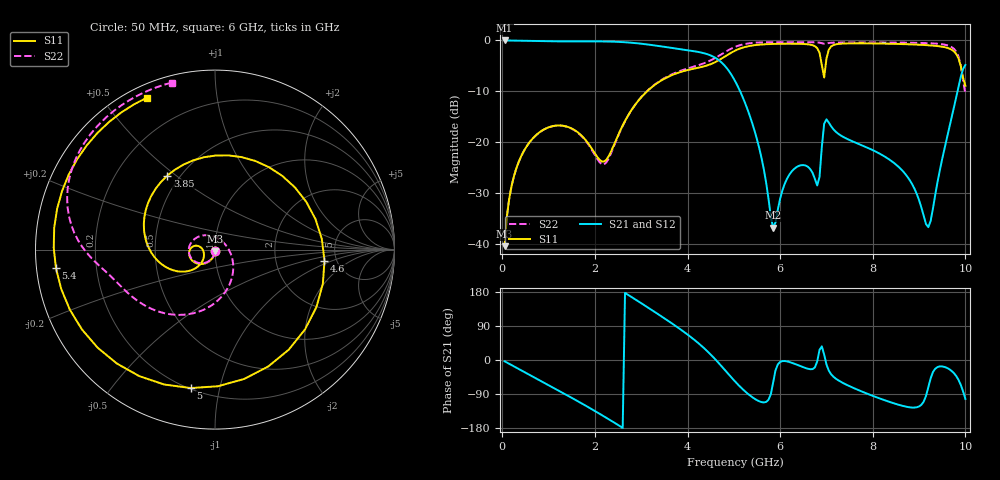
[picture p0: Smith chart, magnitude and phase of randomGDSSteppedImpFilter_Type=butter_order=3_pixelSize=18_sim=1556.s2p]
! freq	dB(S11)	phase(S11)	dB(S12)	phase(S12)
!  dB(S21)	phase(S21)	dB(S22)	phase(S22)
!S-par simulation data
#  GHz  S  DB  R 50
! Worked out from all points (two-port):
!   200 points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, 50 MHz to 10 GHz, reference 50 ohm
!   highest |S21| = -0.01 dB at 50 MHz (marker M1); lowest = -36.7 dB at 5.85 GHz (marker M2)
!   |S21| within 3 dB of the highest: start of sweep to 4.514 GHz
!   lowest |S11| = -40.3 dB at 50 MHz (marker M3), VSWR 1.02, Z = 50 - j0.962 ohm
!   |S11| at or under -10 dB: start of sweep to 3.123 GHz
!   |S22| runs from -40.3 to -0.3 dB; largest |S21 - S12| = 0
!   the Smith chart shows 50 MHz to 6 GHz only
!   S11 on the Smith chart (normalised r, x): 50 MHz: 1.00, -0.02; 3.85 GHz: 0.43, +0.47; 4.6 GHz: 4.01, -0.78; 5 GHz: 0.21, -0.82; 5.4 GHz: 0.06, -0.06; 6 GHz: 0.05, +0.65
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0.05  -40.33 -91.6  -0.01 -3.4  -0.01 -3.4  -40.33 -91.4
0.55  -20.44 -125.9  -0.09 -36.7  -0.09 -36.7  -20.45 -128.2
1.75  -19.02 168.9  -0.20 -117.0  -0.20 -117.0  -19.13 136.5
2.2  -23.74 -162.7  -0.20 -149.1  -0.20 -149.1  -24.29 42.5
2.6  -16.67 -136.0  -0.33 -179.0  -0.33 -179.0  -16.76 -45.5
3.4  -8.04 169.6  -1.12 118.1  -1.12 118.1  -7.94 -115.2
3.85  -6.19 122.8  -1.72 80.6  -1.72 80.6  -5.96 -142.6
4.25  -5.32 65.7  -2.29 42.8  -2.29 42.8  -4.81 -161.3
4.6  -4.25 -5.7  -3.40 1.8  -3.40 1.8  -3.43 -174.5
5  -2.12 -99.9  -7.53 -53.2  -7.53 -53.2  -1.37 164.0
5.05  -1.90 -110.6  -8.37 -59.8  -8.37 -59.8  -1.18 160.7
5.4  -0.99 -173.3  -16.31 -98.3  -16.31 -98.3  -0.49 137.8
5.85  -0.68 129.7  -36.71 -58.5  -36.71 -58.5  -0.35 112.2
6  -0.65 114.0  -31.00 -5.0  -31.00 -5.0  -0.34 104.5
6.7  -0.93 46.8  -25.97 -24.0  -25.97 -24.0  -0.36 70.6
6.9  -4.83 20.6  -20.86 36.0  -20.86 36.0  -0.54 60.9
7  -3.57 57.2  -15.47 -11.8  -15.47 -11.8  -0.60 58.2
7.45  -0.58 8.3  -19.32 -66.3  -19.32 -66.3  -0.39 38.5
8.35  -0.64 -49.1  -23.30 -110.1  -23.30 -110.1  -0.41 1.4
9.2  -0.95 -97.4  -36.61 -72.0  -36.61 -72.0  -0.54 -32.6
9.75  -2.12 -137.5  -13.22 -34.4  -13.22 -34.4  -1.62 -64.4
10  -8.88 -133.2  -4.80 -102.7  -4.80 -102.7  -10.42 -51.1
